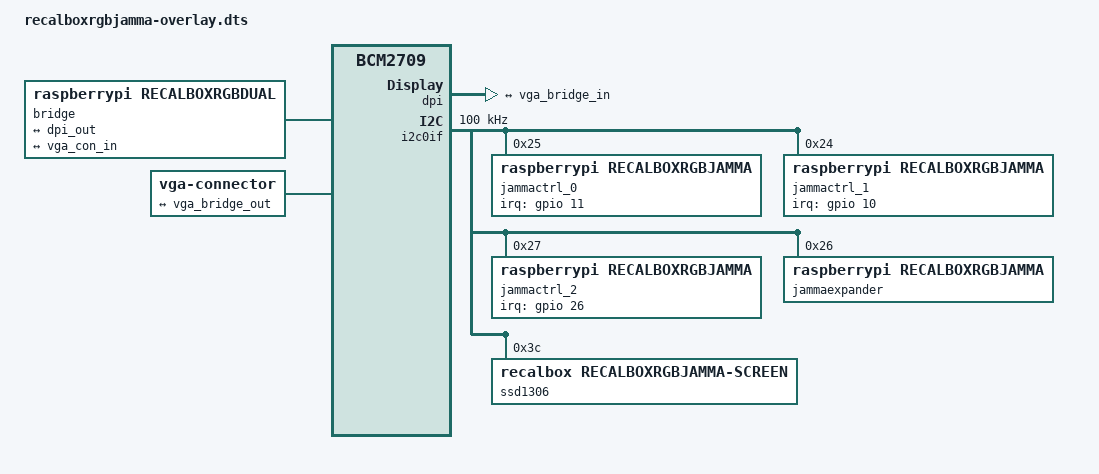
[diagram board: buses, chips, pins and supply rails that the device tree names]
/dts-v1/;
/plugin/;

/ {
	compatible = "brcm,bcm2835", "brcm,bcm2708", "brcm,bcm2709";
  fragment@0 {
      target = <&gpio>;
      __overlay__ {
        irq_gpio_11: irq_gpio_11_conf {
          brcm,pins = <11>; // GPIO 11
          brcm,function = <0>; // Input
          brcm,pull = <2>; // Pull up
        };
        irq_gpio_10: irq_gpio_10_conf {
          brcm,pins = <10>; // GPIO 10
          brcm,function = <0>; // Input
          brcm,pull = <2>; // Pull up
        };
        irq_gpio_26: irq_gpio_26_conf {
          brcm,pins = <26>; // GPIO 26
          brcm,function = <0>; // Input
          brcm,pull = <2>; // Pull up
        };
      };
  };

	fragment@1 {
		target-path = "/";
		__overlay__ {

			bridge: recalboxrgbjamma {
				compatible = "raspberrypi,recalboxrgbdual";
				#address-cells = <1>;
				#size-cells = <0>;

				vc4-vga666-mode = <6>;
				recalbox-rgb-jamma = <1>;
				ports {
					#address-cells = <1>;
					#size-cells = <0>;

					port@0 {
						reg = <0>;
						vga_bridge_in: endpoint {
							remote-endpoint = <&dpi_out>;
						};
					};

					port@1 {
						reg = <1>;
						vga_bridge_out: endpoint {
							remote-endpoint = <&vga_con_in>;
						};
					};
				};
			};

			vga {
				compatible = "vga-connector";
				port {
					vga_con_in: endpoint {
						remote-endpoint = <&vga_bridge_out>;
					};
				};
			};
		};
	};

	fragment@2 {
		target = <&dpi>;
		__overlay__  {
			status = "okay";
			pinctrl-names = "default";
			pinctrl-0 = <&vga666_mode6_pins>;
			port {
				dpi_out: endpoint@0 {
					remote-endpoint = <&vga_bridge_in>;
				};
			};
		};
	};

	fragment@4 {
		target = <&gpio>;
		__overlay__ {
			vga666_mode6_pins: vga666_mode6_pins {
				brcm,pins = <2 3
				      4  5  6  7  8  9
				      12 13 14 15 16 17
				      20 21 22 23 24 25>;
				brcm,function = <6>;
				brcm,pull = <0>;
			};
		};
	};


    fragment@5 {
        target = <&audio_pins>;
            __overlay__ {
                brcm,pins = < 18 19 >;
                brcm,function = < 2 >; /* alt5 alt5 */
                swap_lr;
            };
    };

    fragment@6 {
        target = <&chosen>;
        __overlay__  {
            bootargs = "snd_bcm2835.enable_headphones=1";
        };
    };

  fragment@8 {
    target = <&i2c0if>;
    __overlay__ {
      status = "okay";
      pinctrl-names = "default";
      pinctrl-0 = <&i2c0_pins>;
      clock-frequency = <100000>;
      read-timeout-ms = <100>;
      jammactrl_0: jammactrl_0@25 {
        compatible = "raspberrypi,recalboxrgbjamma";
        reg = <0x25>;
        status = "okay";
        pinctrl-names = "default";
        pinctrl-0 = <&irq_gpio_11>;
        interrupt-parent = <&gpio>;
        interrupts = <11 2>;
        irq-gpios = <&gpio 11 0>;
      };
      jammactrl_1: jammactrl_1@24 {
        compatible = "raspberrypi,recalboxrgbjamma";
        reg = <0x24>;
        status = "okay";
        pinctrl-names = "default";
        pinctrl-0 = <&irq_gpio_10>;
        interrupt-parent = <&gpio>;
        interrupts = <10 2>;
        irq-gpios = <&gpio 10 0>;
      };
      jammactrl_2: jammactrl_2@27 {
        compatible = "raspberrypi,recalboxrgbjamma";
        reg = <0x27>;
        status = "okay";
        pinctrl-names = "default";
        pinctrl-0 = <&irq_gpio_26>;
        interrupt-parent = <&gpio>;
        interrupts = <26 2>;
        irq-gpios = <&gpio 26 0>;
      };
      jammaexpander: jammaexpander@26 {
        compatible = "raspberrypi,recalboxrgbjamma";
        is_pi5 = <0>;
        reg = <0x26>;
        status = "okay";
      };
      ssd1306: ssd1306@3c {
        compatible = "recalbox,recalboxrgbjamma-screen";
        reg = <0x3c>;
      };
    };
  };

  fragment@9 {
		target = <&i2c0_pins>;
		__overlay__ {
			brcm,pins = <0 1>;
			brcm,function = <4>;
		};
	};
};
